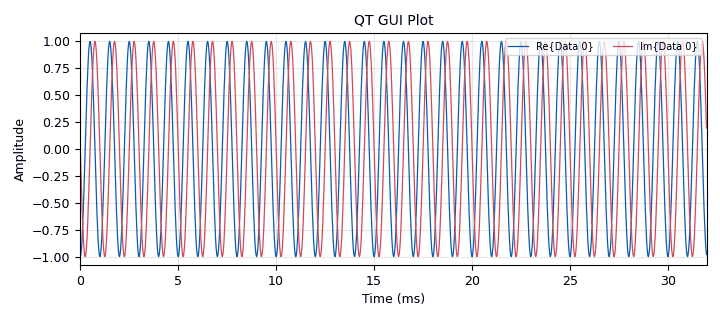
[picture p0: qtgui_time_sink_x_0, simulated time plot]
<?xml version='1.0' encoding='utf-8'?>
<flow_graph>
<block>
<key>options</key>
<param><key>id</key><value>top_block</value></param>
<param><key>generate_options</key><value>qt_gui</value></param>
<param><key>category</key><value>Custom</value></param>
</block>
<block>
<key>variable</key>
<param><key>id</key><value>samp_rate</value></param>
<param><key>value</key><value>32000</value></param>
</block>
<block>
<key>analog_sig_source_x</key>
<param><key>id</key><value>analog_sig_source_x_0</value></param>
<param><key>type</key><value>complex</value></param>
<param><key>samp_rate</key><value>samp_rate</value></param>
<param><key>waveform</key><value>analog.GR_COS_WAVE</value></param>
<param><key>freq</key><value>1000</value></param>
<param><key>amp</key><value>1</value></param>
<param><key>offset</key><value>0</value></param>
</block>
<block>
<key>blocks_tags_strobe</key>
<param><key>id</key><value>blocks_tags_strobe_0</value></param>
<param><key>type</key><value>complex</value></param>
<param><key>value</key><value>pmt.intern("TEST")</value></param>
<param><key>key</key><value>pmt.intern("strobe")</value></param>
<param><key>nsamps</key><value>1000</value></param>
</block>
<block>
<key>blocks_add_xx</key>
<param><key>id</key><value>blocks_add_xx_0</value></param>
<param><key>type</key><value>complex</value></param>
</block>
<block>
<key>blocks_throttle</key>
<param><key>id</key><value>blocks_throttle_0</value></param>
<param><key>type</key><value>complex</value></param>
<param><key>samples_per_second</key><value>samp_rate</value></param>
</block>
<block>
<key>qtgui_time_sink_x</key>
<param><key>id</key><value>qtgui_time_sink_x_0</value></param>
<param><key>type</key><value>complex</value></param>
<param><key>name</key><value>QT GUI Plot</value></param>
<param><key>size</key><value>1024</value></param>
<param><key>srate</key><value>samp_rate</value></param>
<param><key>tr_mode</key><value>qtgui.TRIG_MODE_TAG</value></param>
<param><key>tr_tag</key><value>"strobe"</value></param>
<param><key>label1</key><value></value></param>
<param><key>color1</key><value>"blue"</value></param>
<param><key>label2</key><value></value></param>
<param><key>color2</key><value>"red"</value></param>
</block>
<connection><source_block_id>analog_sig_source_x_0</source_block_id><sink_block_id>blocks_add_xx_0</sink_block_id><source_key>0</source_key><sink_key>0</sink_key></connection>
<connection><source_block_id>blocks_tags_strobe_0</source_block_id><sink_block_id>blocks_add_xx_0</sink_block_id><source_key>0</source_key><sink_key>1</sink_key></connection>
<connection><source_block_id>blocks_add_xx_0</source_block_id><sink_block_id>blocks_throttle_0</sink_block_id><source_key>0</source_key><sink_key>0</sink_key></connection>
<connection><source_block_id>blocks_throttle_0</source_block_id><sink_block_id>qtgui_time_sink_x_0</sink_block_id><source_key>0</source_key><sink_key>0</sink_key></connection>
</flow_graph>
